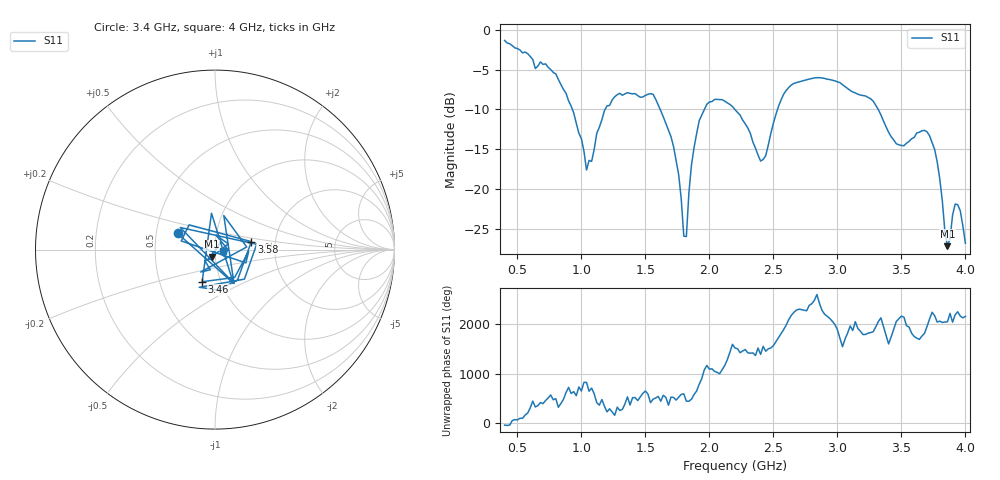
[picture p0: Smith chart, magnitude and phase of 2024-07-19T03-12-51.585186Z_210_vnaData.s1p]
!Created with skrf (http://scikit-rf.org).
# Hz S RI R 50.0
!freq ReS11 ImS11
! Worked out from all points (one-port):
!   181 points, 400 MHz to 4 GHz, reference 50 ohm
!   lowest |S11| = -27.1 dB at 3.86 GHz (marker M1), VSWR 1.09, Z = 47.9 - j3.79 ohm
!   |S11| at or under -10 dB: 1.616 GHz to 1.961 GHz (345.5 MHz wide, 19.3 % of centre); 2.199 GHz to 2.532 GHz (333.3 MHz wide, 14.1 % of centre); 3.319 GHz to end of sweep (the widest 3 of 4)
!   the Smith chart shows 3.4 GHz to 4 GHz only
!   S11 on the Smith chart (normalised r, x): 3.4 GHz: 0.65, +0.12; 3.46 GHz: 0.82, -0.30; 3.58 GHz: 1.50, +0.14; 4 GHz: 1.10, -0.01
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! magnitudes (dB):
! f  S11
! 400 MHz  -1.4
! 860 MHz  -7.5
! 1.04 GHz  -17.6
! 1.18 GHz  -10.2
! 1.3 GHz  -8.0
! 1.56 GHz  -8.1
! 1.7 GHz  -13.4
! 1.76 GHz  -18.2
! 1.8 GHz  -25.9
! 1.82 GHz  -25.9
! 1.86 GHz  -17.0
! 1.92 GHz  -11.4
! 2.04 GHz  -8.8
! 2.2 GHz  -10.0
! 2.4 GHz  -16.5
! 2.56 GHz  -8.8
! 2.66 GHz  -6.7
! 3.1 GHz  -7.6
! 3.28 GHz  -9.0
! 3.4 GHz  -12.9
! 3.46 GHz  -14.3
! 3.56 GHz  -14.0
! 3.58 GHz  -13.7
! 3.68 GHz  -12.6
! 3.76 GHz  -15.0
! 3.86 GHz  -27.1
! 3.92 GHz  -21.9
! 4 GHz  -26.8
